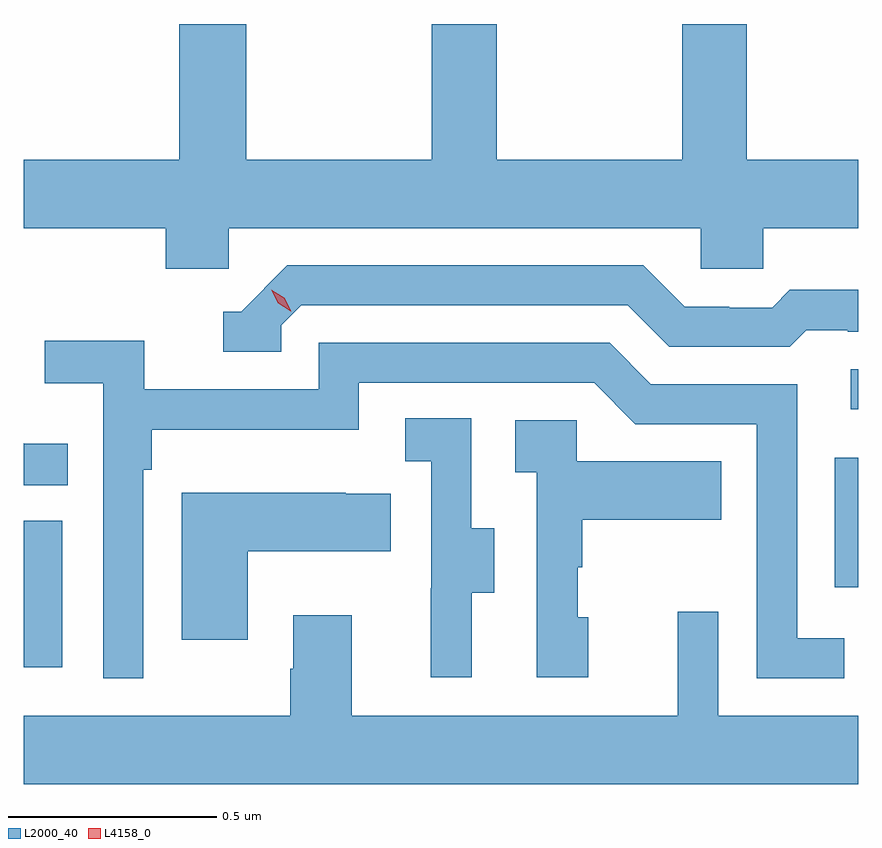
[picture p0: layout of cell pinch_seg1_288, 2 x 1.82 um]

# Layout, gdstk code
import gdstk
lib = gdstk.Library(unit=1e-6, precision=1e-09)
def R(c, l, rs):  # rectangles x0, y0, x1, y1
    for r in rs: c.add(gdstk.rectangle(r[:2], r[2:], *l))
def P(c, l, *ps):  # polygons
    for p in ps: c.add(gdstk.Polygon(p, *l))
L2000_40 = (2000, 40)
L4158_0 = (4158, 0)

pinch_seg1_288 = lib.new_cell('pinch_seg1_288')
R(pinch_seg1_288, L2000_40, [(898.675,556.008,898.768,556.359), (900.618,556.2,900.675,556.51), (900.657,556.626,900.675,556.722)])
P(pinch_seg1_288, L2000_40, [(899.166,557.06),(900.297,557.06),(900.297,556.962),(900.447,556.962),(900.447,557.06),(900.675,557.06),(900.675,557.224),(900.408,557.224),(900.408,557.549),(900.253,557.549),(900.253,557.224),(899.808,557.224),(899.808,557.549),(899.653,557.549),(899.653,557.224),(899.208,557.224),(899.208,557.549),(899.048,557.549),(899.048,557.224),(898.675,557.224),(898.675,557.06),(899.015,557.06),(899.015,556.962),(899.166,556.962)],
  [(899.292,556.827),(899.34,556.875),(900.123,556.875),(900.222,556.776),(900.511,556.776),(900.55,556.815),(900.649,556.815),(900.649,556.812),(900.675,556.812),(900.675,556.912),(900.511,556.912),(900.469,556.869),(900.366,556.869),(900.366,556.872),(900.259,556.872),(900.16,556.971),(899.307,556.971),(899.196,556.86),(899.153,556.86),(899.153,556.764),(899.292,556.764)],
  [(898.962,556.481),(898.982,556.481),(898.982,556.577),(899.478,556.577),(899.478,556.689),(900.042,556.689),(900.141,556.59),(900.432,556.59),(900.432,555.981),(900.641,555.981),(900.641,556.077),(900.528,556.077),(900.528,556.686),(900.178,556.686),(900.079,556.785),(899.382,556.785),(899.382,556.674),(898.964,556.674),(898.964,556.79),(898.725,556.79),(898.725,556.688),(898.866,556.688),(898.866,555.981),(898.962,555.981)],
  [(899.749,556.186),(899.803,556.186),(899.803,556.341),(899.748,556.341),(899.748,556.604),(899.589,556.604),(899.589,556.501),(899.652,556.501),(899.652,556.197),(899.651,556.197),(899.651,555.984),(899.749,555.984)],
  [(900.028,556.128),(900.003,556.128),(900.003,556.247),(900.013,556.247),(900.013,556.361),(900.347,556.361),(900.347,556.501),(900,556.501),(900,556.599),(899.853,556.599),(899.853,556.475),(899.904,556.475),(899.904,555.984),(900.028,555.984)],
  [(898.781,556.543),(898.677,556.543),(898.675,556.545),(898.675,556.444),(898.781,556.444)],
  [(899.212,556.286),(899.555,556.286),(899.555,556.423),(899.447,556.423),(899.447,556.426),(899.054,556.426),(899.054,556.074),(899.212,556.074)],
  [(900.675,555.892),(900.339,555.892),(900.339,556.141),(900.242,556.141),(900.242,555.892),(899.461,555.892),(899.461,556.132),(899.321,556.132),(899.321,556.004),(899.314,556.004),(899.314,555.892),(898.675,555.892),(898.675,555.728),(900.675,555.728)])
P(pinch_seg1_288, L4158_0, [(899.315,556.861),(899.285,556.88),(899.268,556.912),(899.268,556.912),(899.268,556.912),(899.299,556.893),(899.316,556.861),(899.316,556.861)])

lib.write_gds('pinch_seg1_288.gds')
